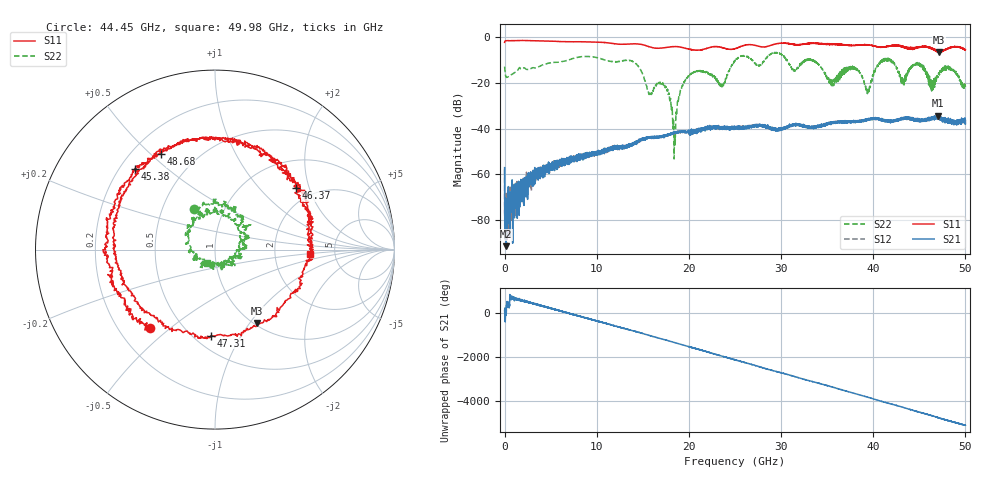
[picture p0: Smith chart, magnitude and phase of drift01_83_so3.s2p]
!Created with skrf (http://scikit-rf.org).
# Hz S RI R 50.0
!freq ReS11 ImS11 ReS21 ImS21 ReS12 ImS12 ReS22 ImS22
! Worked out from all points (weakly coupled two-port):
!   10001 points, 300 kHz to 50 GHz, reference 50 ohm
!   highest |S21| = -34.36 dB at 47.07 GHz (marker M1); lowest = -91.5 dB at 130.3 MHz (marker M2)
!   lowest |S11| = -6.5 dB at 47.1 GHz (marker M3), VSWR 2.79, Z = 51.7 - j54.4 ohm
!   |S11| at or under -10 dB: nowhere
!   |S22| runs from -53.3 to -6.6 dB; largest |S21 - S12| = 0.0036
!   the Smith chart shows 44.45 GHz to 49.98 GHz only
!   S11 on the Smith chart (normalised r, x): 44.45 GHz: 0.33, -0.43; 45.38 GHz: 0.26, +0.39; 46.37 GHz: 1.63, +1.63; 47.31 GHz: 0.61, -0.75; 48.68 GHz: 0.32, +0.54; 49.98 GHz: 3.26, -0.22
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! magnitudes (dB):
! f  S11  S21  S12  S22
! 300 kHz  -2.2  -57.1  -57.8  -12.8
! 130.3 MHz  -1.5  -91.5  -72.3  -17.2
! 8.335 GHz  -1.9  -52.8  -52.6  -8.5
! 16.67 GHz  -4.8  -43.7  -43.6  -20.0
! 17.67 GHz  -4.4  -42.8  -42.7  -22.9
! 18.45 GHz  -4.0  -41.7  -41.7  -44.4
! 19.97 GHz  -5.1  -41.3  -41.6  -16.9
! 23.64 GHz  -4.5  -39.7  -39.1  -20.5
! 25 GHz  -5.0  -39.2  -39.6  -10.3
! 33.34 GHz  -2.6  -39.9  -39.3  -10.0
! 39.43 GHz  -3.3  -35.7  -36.1  -23.5
! 41.67 GHz  -3.8  -36.2  -36.6  -9.9
! 43.25 GHz  -4.1  -35.7  -35.4  -18.4
! 44.45 GHz  -4.9  -36.5  -36.1  -11.8
! 45.38 GHz  -4.0  -36.6  -36.1  -13.9
! 46.37 GHz  -5.0  -35.6  -35.7  -22.2
! 47.07 GHz  -6.2  -34.4  -35.1  -16.0
! 47.1 GHz  -6.5  -35.3  -35.6  -15.5
! 47.31 GHz  -6.4  -35.4  -35.7  -14.7
! 48.68 GHz  -4.3  -36.9  -37.1  -14.4
! 49.98 GHz  -5.5  -35.6  -36.2  -21.3
! 50 GHz  -5.4  -36.4  -36.6  -21.7
